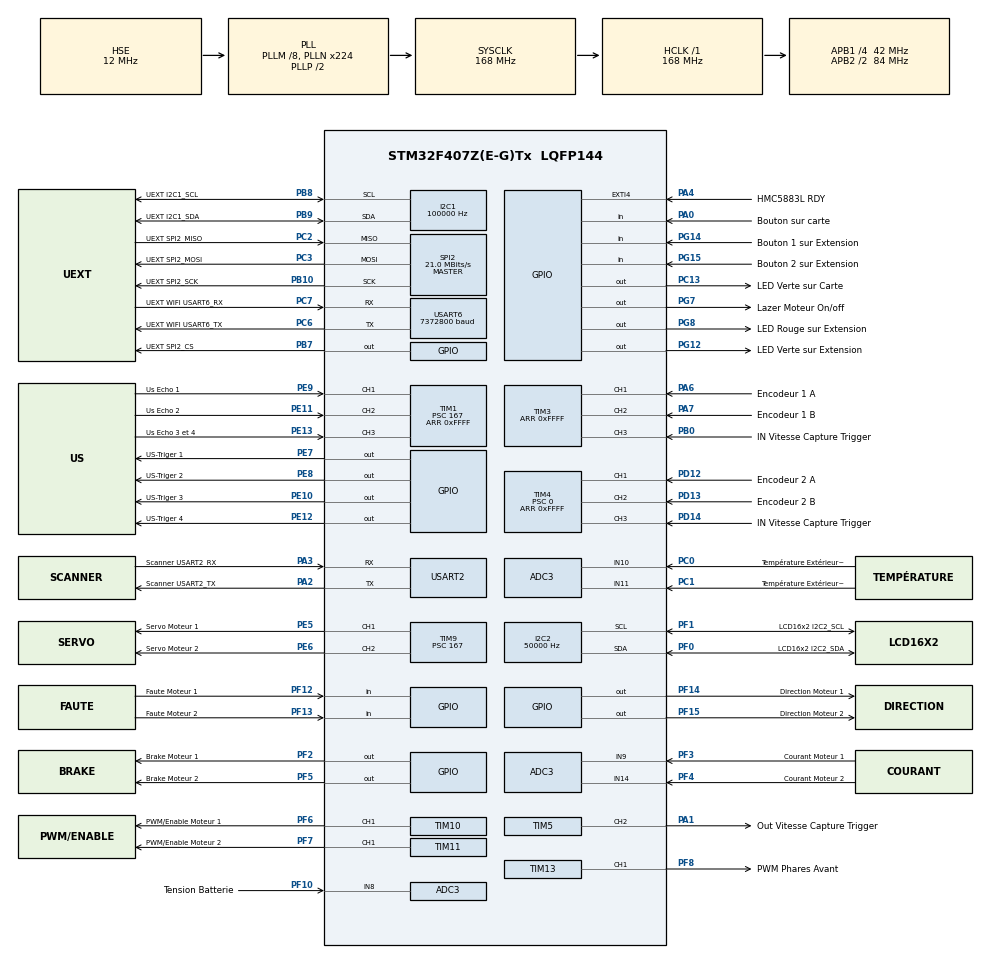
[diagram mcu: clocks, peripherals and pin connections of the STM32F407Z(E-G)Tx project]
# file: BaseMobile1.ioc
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ADC3.Channel-0\#ChannelRegularConversion=ADC_CHANNEL_8
ADC3.Channel-1\#ChannelRegularConversion=ADC_CHANNEL_9
ADC3.Channel-2\#ChannelRegularConversion=ADC_CHANNEL_10
ADC3.Channel-3\#ChannelRegularConversion=ADC_CHANNEL_11
ADC3.Channel-4\#ChannelRegularConversion=ADC_CHANNEL_14
ADC3.DMAContinuousRequests=ENABLE
ADC3.ExternalTrigConv=ADC_EXTERNALTRIGCONV_T5_CC2
ADC3.ExternalTrigConvEdge=ADC_EXTERNALTRIGCONVEDGE_RISING
ADC3.NbrOfConversion=5
ADC3.NbrOfConversionFlag=1
ADC3.Rank-1\#ChannelRegularConversion=2
ADC3.Rank-2\#ChannelRegularConversion=3
ADC3.Rank-3\#ChannelRegularConversion=4
ADC3.Rank-4\#ChannelRegularConversion=5
ADC3.SamplingTime-0\#ChannelRegularConversion=ADC_SAMPLETIME_112CYCLES
ADC3.SamplingTime-1\#ChannelRegularConversion=ADC_SAMPLETIME_112CYCLES
ADC3.SamplingTime-2\#ChannelRegularConversion=ADC_SAMPLETIME_112CYCLES
ADC3.SamplingTime-3\#ChannelRegularConversion=ADC_SAMPLETIME_112CYCLES
ADC3.SamplingTime-4\#ChannelRegularConversion=ADC_SAMPLETIME_112CYCLES
ADC3.ScanConvMode=ENABLE
Dma.ADC3.2.Channel=DMA_CHANNEL_2
Dma.ADC3.2.Direction=DMA_PERIPH_TO_MEMORY
Dma.ADC3.2.FIFOMode=DMA_FIFOMODE_DISABLE
Dma.ADC3.2.FIFOThreshold=DMA_FIFO_THRESHOLD_FULL
Dma.ADC3.2.Instance=DMA2_Stream0
Dma.ADC3.2.MemBurst=DMA_MBURST_SINGLE
Dma.ADC3.2.MemDataAlignment=DMA_MDATAALIGN_WORD
Dma.ADC3.2.MemInc=DMA_MINC_ENABLE
Dma.ADC3.2.Mode=DMA_CIRCULAR
Dma.ADC3.2.PeriphBurst=DMA_PBURST_SINGLE
Dma.ADC3.2.PeriphDataAlignment=DMA_PDATAALIGN_WORD
Dma.ADC3.2.PeriphInc=DMA_PINC_DISABLE
Dma.ADC3.2.Priority=DMA_PRIORITY_LOW
Dma.Request0=USART6_RX
Dma.Request1=USART6_TX
Dma.Request2=ADC3
Dma.Request3=USART2_RX
Dma.USART2_RX.3.Channel=DMA_CHANNEL_4
Dma.USART2_RX.3.Direction=DMA_PERIPH_TO_MEMORY
Dma.USART2_RX.3.FIFOMode=DMA_FIFOMODE_DISABLE
Dma.USART2_RX.3.FIFOThreshold=DMA_FIFO_THRESHOLD_FULL
Dma.USART2_RX.3.Instance=DMA1_Stream5
Dma.USART2_RX.3.MemBurst=DMA_MBURST_SINGLE
Dma.USART2_RX.3.MemDataAlignment=DMA_MDATAALIGN_BYTE
Dma.USART2_RX.3.MemInc=DMA_MINC_ENABLE
Dma.USART2_RX.3.Mode=DMA_CIRCULAR
Dma.USART2_RX.3.PeriphBurst=DMA_PBURST_SINGLE
Dma.USART2_RX.3.PeriphDataAlignment=DMA_PDATAALIGN_BYTE
Dma.USART2_RX.3.PeriphInc=DMA_PINC_DISABLE
Dma.USART2_RX.3.Priority=DMA_PRIORITY_HIGH
Dma.USART6_RX.0.Channel=DMA_CHANNEL_5
Dma.USART6_RX.0.Direction=DMA_PERIPH_TO_MEMORY
Dma.USART6_RX.0.FIFOMode=DMA_FIFOMODE_DISABLE
Dma.USART6_RX.0.FIFOThreshold=DMA_FIFO_THRESHOLD_FULL
Dma.USART6_RX.0.Instance=DMA2_Stream1
Dma.USART6_RX.0.MemBurst=DMA_MBURST_SINGLE
Dma.USART6_RX.0.MemDataAlignment=DMA_MDATAALIGN_BYTE
Dma.USART6_RX.0.MemInc=DMA_MINC_ENABLE
Dma.USART6_RX.0.Mode=DMA_NORMAL
Dma.USART6_RX.0.PeriphBurst=DMA_PBURST_SINGLE
Dma.USART6_RX.0.PeriphDataAlignment=DMA_PDATAALIGN_BYTE
Dma.USART6_RX.0.PeriphInc=DMA_PINC_DISABLE
Dma.USART6_RX.0.Priority=DMA_PRIORITY_VERY_HIGH
Dma.USART6_TX.1.Channel=DMA_CHANNEL_5
Dma.USART6_TX.1.Direction=DMA_MEMORY_TO_PERIPH
Dma.USART6_TX.1.FIFOMode=DMA_FIFOMODE_DISABLE
Dma.USART6_TX.1.FIFOThreshold=DMA_FIFO_THRESHOLD_FULL
Dma.USART6_TX.1.Instance=DMA2_Stream6
Dma.USART6_TX.1.MemBurst=DMA_MBURST_SINGLE
Dma.USART6_TX.1.MemDataAlignment=DMA_MDATAALIGN_BYTE
Dma.USART6_TX.1.MemInc=DMA_MINC_ENABLE
Dma.USART6_TX.1.Mode=DMA_NORMAL
Dma.USART6_TX.1.PeriphBurst=DMA_PBURST_SINGLE
Dma.USART6_TX.1.PeriphDataAlignment=DMA_PDATAALIGN_BYTE
Dma.USART6_TX.1.PeriphInc=DMA_PINC_DISABLE
Dma.USART6_TX.1.Priority=DMA_PRIORITY_HIGH
I2C1.ClockSpeed=100000
I2C1.I2C_Mode=I2C_Standard
I2C2.ClockSpeed=50000
Mcu.Family=STM32F4
Mcu.Name=STM32F407Z(E-G)Tx
Mcu.Package=LQFP144
NVIC.DMA1_Stream5_IRQn=true\:0\:15\:false
NVIC.DMA2_Stream0_IRQn=true\:0\:12\:false
NVIC.DMA2_Stream1_IRQn=true\:0\:10\:false
NVIC.DMA2_Stream6_IRQn=true\:0\:10\:false
NVIC.EXTI4_IRQn=true\:0\:15\:false
NVIC.I2C1_ER_IRQn=true\:0\:14\:false
NVIC.I2C1_EV_IRQn=true\:0\:14\:false
NVIC.I2C2_ER_IRQn=true\:0\:14\:false
NVIC.I2C2_EV_IRQn=true\:0\:14\:false
NVIC.PriorityGroup=NVIC_PRIORITYGROUP_0
NVIC.TIM1_CC_IRQn=true\:0\:9\:false
NVIC.TIM2_IRQn=true\:0\:5\:false
NVIC.TIM5_IRQn=true\:0\:13\:false
NVIC.USART2_IRQn=true\:0\:11\:false
NVIC.USART6_IRQn=true\:0\:11\:false
PA0-WKUP.GPIO_Label=Bouton sur carte
PA0-WKUP.GPIO_Mode=GPIO_MODE_INPUT
PA0-WKUP.GPIO_PuPd=GPIO_NOPULL
PA0-WKUP.Signal=GPIO_Input
PA1.GPIO_Label=Out Vitesse Capture Trigger
PA1.GPIO_ModeDefaultPP=GPIO_MODE_AF_PP
PA1.GPIO_PuPd=GPIO_NOPULL
PA1.GPIO_Speed=GPIO_SPEED_LOW
PA1.Signal=S_TIM5_CH2
PA10.Signal=USB_OTG_FS_ID
PA11.Signal=USB_OTG_FS_DM
PA12.Signal=USB_OTG_FS_DP
PA13.Mode=JTAG(5-pin)
PA13.Signal=SYS_JTMS-SWDIO
PA14.Mode=JTAG(5-pin)
PA14.Signal=SYS_JTCK-SWCLK
PA15.Mode=JTAG(5-pin)
PA15.Signal=SYS_JTDI
PA2.GPIO_Label=Scanner USART2_TX
PA2.GPIO_Mode=GPIO_MODE_AF_PP
PA2.GPIO_PuPd=GPIO_PULLUP
PA2.GPIO_Speed=GPIO_SPEED_HIGH
PA2.Mode=Asynchronous
PA2.Signal=USART2_TX
PA3.GPIO_Label=Scanner USART2_RX
PA3.GPIO_Mode=GPIO_MODE_AF_PP
PA3.GPIO_PuPd=GPIO_PULLUP
PA3.GPIO_Speed=GPIO_SPEED_HIGH
PA3.Mode=Asynchronous
PA3.Signal=USART2_RX
PA4.GPIO_Label=HMC5883L RDY
PA4.GPIO_ModeDefaultEXTI=GPIO_MODE_IT_RISING
PA4.GPIO_PuPd=GPIO_NOPULL
PA4.Signal=GPXTI4
PA6.GPIO_Label=Encodeur 1 A
PA6.GPIO_ModeDefaultPP=GPIO_MODE_AF_PP
PA6.GPIO_PuPd=GPIO_NOPULL
PA6.GPIO_Speed=GPIO_SPEED_LOW
PA6.Signal=S_TIM3_CH1
PA7.GPIO_Label=Encodeur 1 B
PA7.GPIO_ModeDefaultPP=GPIO_MODE_AF_PP
PA7.GPIO_PuPd=GPIO_NOPULL
PA7.GPIO_Speed=GPIO_SPEED_LOW
PA7.Signal=S_TIM3_CH2
PA8.Signal=USB_OTG_FS_SOF
PA9.Signal=USB_OTG_FS_VBUS
PB0.GPIO_Label=IN Vitesse Capture Trigger
PB0.GPIO_ModeDefaultPP=GPIO_MODE_AF_PP
PB0.GPIO_PuPd=GPIO_NOPULL
PB0.GPIO_Speed=GPIO_SPEED_LOW
PB0.Signal=S_TIM3_CH3
PB1.Signal=USB_OTG_HS_ULPI_D2
PB10.GPIO_Label=UEXT SPI2_SCK
PB10.GPIO_Mode=GPIO_MODE_AF_PP
PB10.GPIO_PuPd=GPIO_PULLDOWN
PB10.GPIO_Speed=GPIO_SPEED_HIGH
PB10.Mode=Full_Duplex_Master
PB10.Signal=SPI2_SCK
PB13.Signal=USB_OTG_HS_VBUS
PB14.Signal=USB_OTG_HS_DM
PB15.Signal=USB_OTG_HS_DP
PB3.Mode=JTAG(5-pin)
PB3.Signal=SYS_JTDO-SWO
PB4.Mode=JTAG(5-pin)
PB4.Signal=SYS_JTRST
PB5.GPIO_Label=Arduino SPI1_MOSI
PB5.GPIO_Mode=GPIO_MODE_AF_PP
PB5.GPIO_PuPd=GPIO_NOPULL
PB5.GPIO_Speed=GPIO_SPEED_HIGH
PB5.Signal=SPI1_MOSI
PB7.GPIO_Label=UEXT SPI2_CS
PB7.GPIO_ModeDefaultOutputPP=GPIO_MODE_OUTPUT_PP
PB7.GPIO_PuPd=GPIO_PULLUP
PB7.GPIO_Speed=GPIO_SPEED_HIGH
PB7.Signal=GPIO_Output
PB8.GPIO_Label=UEXT I2C1_SCL
PB8.GPIO_Mode=GPIO_MODE_AF_OD
PB8.GPIO_PuPdOD=GPIO_PULLUP
PB8.GPIO_Speed=GPIO_SPEED_HIGH
PB8.Mode=I2C
PB8.Signal=I2C1_SCL
PB9.GPIO_Label=UEXT I2C1_SDA
PB9.GPIO_Mode=GPIO_MODE_AF_OD
PB9.GPIO_PuPdOD=GPIO_PULLUP
PB9.GPIO_Speed=GPIO_SPEED_HIGH
PB9.Mode=I2C
PB9.Signal=I2C1_SDA
PC0.GPIO_Label=Temp\u00E9rature Ext\u00E9rieure Low 
PC0.GPIO_Mode=GPIO_MODE_ANALOG
PC0.GPIO_PuPd=GPIO_NOPULL
PC0.Signal=ADCx_IN10
PC1.GPIO_Label=Temp\u00E9rature Ext\u00E9rieure Hiigh 
PC1.GPIO_Mode=GPIO_MODE_ANALOG
PC1.GPIO_PuPd=GPIO_NOPULL
PC1.Signal=ADCx_IN11
PC10.Signal=SDIO_D2
PC11.Signal=SDIO_D3
PC12.Signal=SDIO_CK
PC13-ANTI_TAMP.GPIO_Label=LED Verte sur Carte
PC13-ANTI_TAMP.GPIO_ModeDefaultOutputPP=GPIO_MODE_OUTPUT_PP
PC13-ANTI_TAMP.GPIO_PuPd=GPIO_NOPULL
PC13-ANTI_TAMP.GPIO_Speed=GPIO_SPEED_LOW
PC13-ANTI_TAMP.Signal=GPIO_Output
PC14-OSC32_IN.Mode=LSE-External-Oscillator
PC14-OSC32_IN.Signal=RCC_OSC32_IN
PC15-OSC32_OUT.Mode=LSE-External-Oscillator
PC15-OSC32_OUT.Signal=RCC_OSC32_OUT
PC2.GPIO_Label=UEXT SPI2_MISO
PC2.GPIO_Mode=GPIO_MODE_AF_PP
PC2.GPIO_PuPd=GPIO_NOPULL
PC2.GPIO_Speed=GPIO_SPEED_HIGH
PC2.Mode=Full_Duplex_Master
PC2.Signal=SPI2_MISO
PC3.GPIO_Label=UEXT SPI2_MOSI
PC3.GPIO_Mode=GPIO_MODE_AF_PP
PC3.GPIO_PuPd=GPIO_NOPULL
PC3.GPIO_Speed=GPIO_SPEED_HIGH
PC3.Mode=Full_Duplex_Master
PC3.Signal=SPI2_MOSI
PC6.GPIO_Label=UEXT WIFI USART6_TX 
PC6.GPIO_Mode=GPIO_MODE_AF_PP
PC6.GPIO_PuPd=GPIO_NOPULL
PC6.GPIO_Speed=GPIO_SPEED_HIGH
PC6.Mode=Asynchronous
PC6.Signal=USART6_TX
PC7.GPIO_Label=UEXT WIFI USART6_RX
PC7.GPIO_Mode=GPIO_MODE_AF_PP
PC7.GPIO_PuPd=GPIO_NOPULL
PC7.GPIO_Speed=GPIO_SPEED_HIGH
PC7.Mode=Asynchronous
PC7.Signal=USART6_RX
PC8.Signal=SDIO_D0
PC9.Signal=SDIO_D1
PD12.GPIO_Label=Encodeur 2 A
PD12.GPIO_ModeDefaultPP=GPIO_MODE_AF_PP
PD12.GPIO_PuPd=GPIO_NOPULL
PD12.GPIO_Speed=GPIO_SPEED_LOW
PD12.Signal=S_TIM4_CH1
PD13.GPIO_Label=Encodeur 2 B
PD13.GPIO_ModeDefaultPP=GPIO_MODE_AF_PP
PD13.GPIO_PuPd=GPIO_NOPULL
PD13.GPIO_Speed=GPIO_SPEED_LOW
PD13.Signal=S_TIM4_CH2
PD14.GPIO_Label=IN Vitesse Capture Trigger
PD14.GPIO_ModeDefaultPP=GPIO_MODE_AF_PP
PD14.GPIO_PuPd=GPIO_NOPULL
PD14.GPIO_Speed=GPIO_SPEED_LOW
PD14.Signal=S_TIM4_CH3
PD2.Signal=SDIO_CMD
PD8.GPIO_Label=BOOT USART3_TX
PD8.GPIO_Mode=GPIO_MODE_AF_PP
PD8.GPIO_PuPd=GPIO_PULLUP
PD8.GPIO_Speed=GPIO_SPEED_HIGH
PD8.Signal=USART3_TX
PD9.GPIO_Label=BOOT USART3_RX
PD9.GPIO_Mode=GPIO_MODE_AF_PP
PD9.GPIO_PuPd=GPIO_PULLUP
PD9.GPIO_Speed=GPIO_SPEED_HIGH
PD9.Signal=USART3_RX
PE10.GPIO_Label=US-Triger 3
PE10.GPIO_ModeDefaultOutputPP=GPIO_MODE_OUTPUT_PP
PE10.GPIO_PuPd=GPIO_NOPULL
PE10.GPIO_Speed=GPIO_SPEED_LOW
PE10.Signal=GPIO_Output
PE11.GPIO_Label=Us Echo 2
PE11.GPIO_ModeDefaultPP=GPIO_MODE_AF_PP
PE11.GPIO_PuPd=GPIO_NOPULL
PE11.GPIO_Speed=GPIO_SPEED_LOW
PE11.Signal=S_TIM1_CH2
PE12.GPIO_Label=US-Triger 4
PE12.GPIO_ModeDefaultOutputPP=GPIO_MODE_OUTPUT_PP
PE12.GPIO_PuPd=GPIO_NOPULL
PE12.GPIO_Speed=GPIO_SPEED_LOW
PE12.Signal=GPIO_Output
PE13.GPIO_Label=Us Echo 3 et 4
PE13.GPIO_ModeDefaultPP=GPIO_MODE_AF_PP
PE13.GPIO_PuPd=GPIO_PULLDOWN
PE13.GPIO_Speed=GPIO_SPEED_LOW
PE13.Signal=S_TIM1_CH3
PE5.GPIO_Label=Servo Moteur 1
PE5.GPIO_ModeDefaultPP=GPIO_MODE_AF_PP
PE5.GPIO_PuPd=GPIO_NOPULL
PE5.GPIO_Speed=GPIO_SPEED_LOW
PE5.Signal=S_TIM9_CH1
PE6.GPIO_Label=Servo Moteur 2
PE6.GPIO_ModeDefaultPP=GPIO_MODE_AF_PP
PE6.GPIO_PuPd=GPIO_NOPULL
PE6.GPIO_Speed=GPIO_SPEED_LOW
PE6.Signal=S_TIM9_CH2
PE7.GPIO_Label=US-Triger 1
PE7.GPIO_ModeDefaultOutputPP=GPIO_MODE_OUTPUT_PP
PE7.GPIO_PuPd=GPIO_NOPULL
PE7.GPIO_Speed=GPIO_SPEED_LOW
PE7.Signal=GPIO_Output
PE8.GPIO_Label=US-Triger 2
PE8.GPIO_ModeDefaultOutputPP=GPIO_MODE_OUTPUT_PP
PE8.GPIO_PuPd=GPIO_NOPULL
PE8.GPIO_Speed=GPIO_SPEED_LOW
PE8.Signal=GPIO_Output
PE9.GPIO_Label=Us Echo 1
PE9.GPIO_ModeDefaultPP=GPIO_MODE_AF_PP
PE9.GPIO_PuPd=GPIO_NOPULL
PE9.GPIO_Speed=GPIO_SPEED_LOW
PE9.Signal=S_TIM1_CH1
PF0.GPIO_Label=LCD16x2 I2C2_SDA
PF0.GPIO_Mode=GPIO_MODE_AF_OD
PF0.GPIO_PuPdOD=GPIO_PULLUP
PF0.GPIO_Speed=GPIO_SPEED_HIGH
PF0.Mode=I2C
PF0.Signal=I2C2_SDA
PF1.GPIO_Label=LCD16x2 I2C2_SCL
PF1.GPIO_Mode=GPIO_MODE_AF_OD
PF1.GPIO_PuPdOD=GPIO_PULLUP
PF1.GPIO_Speed=GPIO_SPEED_HIGH
PF1.Mode=I2C
PF1.Signal=I2C2_SCL
PF10.GPIO_Label=Tension Batterie
PF10.GPIO_Mode=GPIO_MODE_ANALOG
PF10.GPIO_PuPd=GPIO_NOPULL
PF10.Mode=IN8
PF10.Signal=ADC3_IN8
PF12.GPIO_Label=Faute Moteur 1
PF12.GPIO_Mode=GPIO_MODE_INPUT
PF12.GPIO_PuPd=GPIO_NOPULL
PF12.Signal=GPIO_Input
PF13.GPIO_Label=Faute Moteur 2
PF13.GPIO_Mode=GPIO_MODE_INPUT
PF13.GPIO_PuPd=GPIO_NOPULL
PF13.Signal=GPIO_Input
PF14.GPIO_Label=Direction Moteur 1
PF14.GPIO_ModeDefaultOutputPP=GPIO_MODE_OUTPUT_PP
PF14.GPIO_PuPd=GPIO_NOPULL
PF14.GPIO_Speed=GPIO_SPEED_LOW
PF14.Signal=GPIO_Output
PF15.GPIO_Label=Direction Moteur 2
PF15.GPIO_ModeDefaultOutputPP=GPIO_MODE_OUTPUT_PP
PF15.GPIO_PuPd=GPIO_NOPULL
PF15.GPIO_Speed=GPIO_SPEED_LOW
PF15.Signal=GPIO_Output
PF2.GPIO_Label=Brake Moteur 1
PF2.GPIO_ModeDefaultOutputPP=GPIO_MODE_OUTPUT_OD
PF2.GPIO_PuPd=GPIO_NOPULL
PF2.GPIO_Speed=GPIO_SPEED_LOW
PF2.Signal=GPIO_Output
PF3.GPIO_Label=Courant Moteur 1
PF3.GPIO_Mode=GPIO_MODE_ANALOG
PF3.GPIO_PuPd=GPIO_NOPULL
PF3.Mode=IN9
PF3.Signal=ADC3_IN9
PF4.GPIO_Label=Courant Moteur 2
PF4.GPIO_Mode=GPIO_MODE_ANALOG
PF4.GPIO_PuPd=GPIO_NOPULL
PF4.Mode=IN14
PF4.Signal=ADC3_IN14
PF5.GPIO_Label=Brake Moteur 2
PF5.GPIO_ModeDefaultOutputPP=GPIO_MODE_OUTPUT_OD
PF5.GPIO_PuPd=GPIO_NOPULL
PF5.GPIO_Speed=GPIO_SPEED_LOW
PF5.Signal=GPIO_Output
PF6.GPIO_Label=PWM/Enable Moteur 1
PF6.GPIO_ModeDefaultPP=GPIO_MODE_AF_PP
PF6.GPIO_PuPd=GPIO_NOPULL
PF6.GPIO_Speed=GPIO_SPEED_LOW
PF6.Signal=S_TIM10_CH1
PF7.GPIO_Label=PWM/Enable Moteur 2
PF7.GPIO_ModeDefaultPP=GPIO_MODE_AF_PP
PF7.GPIO_PuPd=GPIO_NOPULL
PF7.GPIO_Speed=GPIO_SPEED_LOW
PF7.Signal=S_TIM11_CH1
PF8.GPIO_Label=PWM Phares Avant
PF8.GPIO_ModeDefaultPP=GPIO_MODE_AF_PP
PF8.GPIO_PuPd=GPIO_NOPULL
PF8.GPIO_Speed=GPIO_SPEED_LOW
PF8.Signal=S_TIM13_CH1
PG12.GPIO_Label=LED Verte sur Extension
PG12.GPIO_ModeDefaultOutputPP=GPIO_MODE_OUTPUT_PP
PG12.GPIO_PuPd=GPIO_NOPULL
PG12.GPIO_Speed=GPIO_SPEED_LOW
PG12.Signal=GPIO_Output
PG14.GPIO_Label=Bouton 1 sur Extension
PG14.GPIO_Mode=GPIO_MODE_INPUT
PG14.GPIO_PuPd=GPIO_NOPULL
PG14.Signal=GPIO_Input
PG15.GPIO_Label=Bouton 2 sur Extension
PG15.GPIO_Mode=GPIO_MODE_INPUT
PG15.GPIO_PuPd=GPIO_NOPULL
PG15.Signal=GPIO_Input
PG7.GPIO_Label=Lazer Moteur On/off
PG7.GPIO_ModeDefaultOutputPP=GPIO_MODE_OUTPUT_PP
PG7.GPIO_PuPd=GPIO_NOPULL
PG7.GPIO_Speed=GPIO_SPEED_LOW
PG7.Signal=GPIO_Output
PG8.GPIO_Label=LED Rouge sur Extension
PG8.GPIO_ModeDefaultOutputPP=GPIO_MODE_OUTPUT_PP
PG8.GPIO_PuPd=GPIO_NOPULL
PG8.GPIO_Speed=GPIO_SPEED_LOW
PG8.Signal=GPIO_Output
PH0-OSC_IN.Mode=HSE-External-Oscillator
PH0-OSC_IN.Signal=RCC_OSC_IN
PH1-OSC_OUT.Mode=HSE-External-Oscillator
PH1-OSC_OUT.Signal=RCC_OSC_OUT
ProjectManager.TargetToolchain=SW4STM32
RCC.48MHZClocksFreq_Value=84000000
RCC.AHBFreq_Value=168000000
RCC.APB1CLKDivider=RCC_HCLK_DIV4
RCC.APB1Freq_Value=42000000
RCC.APB1TimFreq_Value=84000000
RCC.APB2CLKDivider=RCC_HCLK_DIV2
RCC.APB2Freq_Value=84000000
RCC.APB2TimFreq_Value=168000000
RCC.CortexFreq_Value=168000000
RCC.HCLKFreq_Value=168000000
RCC.HSE_VALUE=12000000
RCC.HSI_VALUE=16000000
RCC.PLLM=8
RCC.PLLN=224
RCC.PLLSourceVirtual=RCC_PLLSOURCE_HSE
RCC.RCC_RTC_Clock_Source=RCC_RTCCLKSOURCE_LSE
RCC.RCC_RTC_Clock_SourceVirtual=RCC_RTCCLKSOURCE_LSE
RCC.SYSCLKFreq_VALUE=168000000
RCC.SYSCLKSource=RCC_SYSCLKSOURCE_PLLCLK
RCC.VCOOutputFreq_Value=336000000
SH.ADCx_IN10.0=ADC3_IN10,IN10
SH.ADCx_IN11.0=ADC3_IN11,IN11
SH.S_TIM10_CH1.0=TIM10_CH1,PWM Generation1 CH1
SH.S_TIM11_CH1.0=TIM11_CH1,PWM Generation1 CH1
SH.S_TIM13_CH1.0=TIM13_CH1,PWM Generation1 CH1
SH.S_TIM1_CH1.0=TIM1_CH1,Input_Capture1_from_TI1
SH.S_TIM1_CH1.1=TIM1_CH1,TriggerSource_TI1ED
SH.S_TIM1_CH2.0=TIM1_CH2,Input_Capture2_from_TI2
SH.S_TIM1_CH3.0=TIM1_CH3,Input_Capture3_from_TI3
SH.S_TIM3_CH1.0=TIM3_CH1,Encoder_Interface
SH.S_TIM3_CH2.0=TIM3_CH2,Encoder_Interface
SH.S_TIM3_CH3.0=TIM3_CH3,Input_Capture3_from_TI3
SH.S_TIM4_CH1.0=TIM4_CH1,Encoder_Interface
SH.S_TIM4_CH2.0=TIM4_CH2,Encoder_Interface
SH.S_TIM4_CH3.0=TIM4_CH3,Input_Capture3_from_TI3
SH.S_TIM5_CH2.0=TIM5_CH2,Output Compare2 CH2
SH.S_TIM9_CH1.0=TIM9_CH1,PWM Generation1 CH1
SH.S_TIM9_CH2.0=TIM9_CH2,PWM Generation2 CH2
SPI2.BaudRatePrescaler=SPI_BAUDRATEPRESCALER_2
SPI2.CLKPhase=SPI_PHASE_2EDGE
SPI2.CLKPolarity=SPI_POLARITY_HIGH
SPI2.CRCCalculation=SPI_CRCCALCULATION_ENABLED
SPI2.CalculateBaudRate=21.0 MBits/s
SPI2.Mode=SPI_MODE_MASTER
TIM1.Channel-Input_Capture2_from_TI2=TIM_CHANNEL_2
TIM1.Channel-Input_Capture3_from_TI3=TIM_CHANNEL_3
TIM1.ICPolarity_CH1=TIM_INPUTCHANNELPOLARITY_FALLING
TIM1.ICPolarity_CH2=TIM_INPUTCHANNELPOLARITY_FALLING
TIM1.ICPolarity_CH3=TIM_INPUTCHANNELPOLARITY_FALLING
TIM1.Period=0xFFFF
TIM1.Prescaler=167
TIM10.Period=999
TIM10.Prescaler=7
TIM11.Period=999
TIM11.Prescaler=7
TIM13.Period=999
TIM13.Prescaler=840
TIM2.Channel-Output\ Compare2\ No\ Output=TIM_CHANNEL_2
TIM2.Channel-Output\ Compare3\ No\ Output=TIM_CHANNEL_3
TIM2.Channel-Output\ Compare4\ No\ Output=TIM_CHANNEL_4
TIM2.Period=0xFFFFFFFF
TIM2.Prescaler=83
TIM3.Channel-Input_Capture3_from_TI3=TIM_CHANNEL_3
TIM3.EncoderMode=TIM_ENCODERMODE_TI12
TIM3.IC1Filter=8
TIM3.IC2Filter=8
TIM3.Period=0xFFFF
TIM4.Channel-Input_Capture3_from_TI3=TIM_CHANNEL_3
TIM4.EncoderMode=TIM_ENCODERMODE_TI12
TIM4.IC1Filter=8
TIM4.IC2Filter=8
TIM4.Period=0xFFFF
TIM4.Prescaler=0
TIM4.TIM_MasterOutputTrigger=TIM_TRGO_UPDATE
TIM4.TIM_MasterSlaveMode=TIM_MASTERSLAVEMODE_ENABLE
TIM5.Channel-Output\ Compare2\ CH2=TIM_CHANNEL_2
TIM5.Channel-Output\ Compare3\ No\ Output=TIM_CHANNEL_3
TIM5.Channel-Output\ Compare4\ No\ Output=TIM_CHANNEL_4
TIM5.OCMode_2=TIM_OCMODE_ACTIVE
TIM5.Period=0xFFFFFFFF
TIM5.Prescaler=83
TIM5.Pulse-Output\ Compare2\ CH2=0xFFFFFFFF
TIM9.Channel-PWM\ Generation2\ CH2=TIM_CHANNEL_2
TIM9.Period=19999
TIM9.Prescaler=167
TIM9.Pulse-PWM\ Generation1\ CH1=1500
TIM9.Pulse-PWM\ Generation2\ CH2=1500
USART6.BaudRate=7372800
USART6.OverSampling=UART_OVERSAMPLING_8
VP_TIM10_VS_ClockSourceINT.Mode=Enable_Timer
VP_TIM11_VS_ClockSourceINT.Mode=Enable_Timer
VP_TIM13_VS_ClockSourceINT.Mode=Enable_Timer
VP_TIM1_VS_ClockSourceINT.Mode=Internal
VP_TIM1_VS_ControllerModeReset.Mode=Reset Mode
VP_TIM1_VS_XOR.Mode=XOR_enable
VP_TIM2_VS_ClockSourceINT.Mode=Internal
VP_TIM2_VS_no_output1.Mode=Output Compare1 No Output
VP_TIM2_VS_no_output2.Mode=Output Compare2 No Output
VP_TIM2_VS_no_output3.Mode=Output Compare3 No Output
VP_TIM2_VS_no_output4.Mode=Output Compare4 No Output
VP_TIM5_VS_ClockSourceINT.Mode=Internal
VP_TIM5_VS_no_output1.Mode=Output Compare1 No Output
VP_TIM5_VS_no_output3.Mode=Output Compare3 No Output
VP_TIM5_VS_no_output4.Mode=Output Compare4 No Output
VP_TIM9_VS_ClockSourceINT.Mode=Internal

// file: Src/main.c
/**
  ******************************************************************************
  * File Name          : main.c
  * Description        : Main program body
  ******************************************************************************
  *
  * COPYRIGHT(c) 2016 STMicroelectronics
  *
  * Redistribution and use in source and binary forms, with or without modification,
  * are permitted provided that the following conditions are met:
  *   1. Redistributions of source code must retain the above copyright notice,
  *      this list of conditions and the following disclaimer.
  *   2. Redistributions in binary form must reproduce the above copyright notice,
  *      this list of conditions and the following disclaimer in the documentation
  *      and/or other materials provided with the distribution.
  *   3. Neither the name of STMicroelectronics nor the names of its contributors
  *      may be used to endorse or promote products derived from this software
  *      without specific prior written permission.
  *
  * THIS SOFTWARE IS PROVIDED BY THE COPYRIGHT HOLDERS AND CONTRIBUTORS "AS IS"
  * AND ANY EXPRESS OR IMPLIED WARRANTIES, INCLUDING, BUT NOT LIMITED TO, THE
  * IMPLIED WARRANTIES OF MERCHANTABILITY AND FITNESS FOR A PARTICULAR PURPOSE ARE
  * DISCLAIMED. IN NO EVENT SHALL THE COPYRIGHT HOLDER OR CONTRIBUTORS BE LIABLE
  * FOR ANY DIRECT, INDIRECT, INCIDENTAL, SPECIAL, EXEMPLARY, OR CONSEQUENTIAL
  * DAMAGES (INCLUDING, BUT NOT LIMITED TO, PROCUREMENT OF SUBSTITUTE GOODS OR
  * SERVICES; LOSS OF USE, DATA, OR PROFITS; OR BUSINESS INTERRUPTION) HOWEVER
  * CAUSED AND ON ANY THEORY OF LIABILITY, WHETHER IN CONTRACT, STRICT LIABILITY,
  * OR TORT (INCLUDING NEGLIGENCE OR OTHERWISE) ARISING IN ANY WAY OUT OF THE USE
  * OF THIS SOFTWARE, EVEN IF ADVISED OF THE POSSIBILITY OF SUCH DAMAGE.
  *
  ******************************************************************************
  */
#include "stm32f4xx_hal.h"
#include "adc.h"
#include "dma.h"
#include "i2c.h"
#include "spi.h"
#include "tim.h"
#include "usart.h"
#include "gpio.h"

/* USER CODE BEGIN Includes */
#include "typegen.h"
#include "stdio.h"
#include "moteurs.h"
#include "US_Capteur.h"
#include "Tempo.h"
#include "LCD16x2.h"
#include "Boutons.h"
#include "Temperature.h"
#include "Wificom.h"
#include "HMC5883L.h"
#include "Phares.h"
#include "Sauve_Restaure.h"
#include "Rplidar.h"
#include "MPU6050.h"
#include "HMC5883L.h"
#include "Guidage.h"

/* USER CODE END Includes */

/* USER CODE BEGIN PV */
/* Private variables ---------------------------------------------------------*/

/* Le buffer de lecture des entrées analogiques de ADC3 */
extern uint32_t	Buf_Adc[ 5 ] ;				/* 5 canaux à convertir */

T_Boolean	Defaut_Sauvegarde ;

int16_t 	Distance_Obstacle_Avant ;
int16_t 	Distance_Obstacle_Arriere ;
int16_t   Position_Servo = 45 ;

/* USER CODE END PV */

void SystemClock_Config(void);

/* USER CODE BEGIN PFP */
/* Private function prototypes -----------------------------------------------*/

/* USER CODE END PFP */

int main(void)
{

  /* MCU Configuration----------------------------------------------------------*/

  /* Reset of all peripherals, Initializes the Flash interface and the Systick. */
  HAL_Init();

  /* Configure the system clock */
  SystemClock_Config();

  /* Initialize all configured peripherals */
  MX_GPIO_Init();
  MX_DMA_Init();
  MX_ADC3_Init();
  MX_I2C1_Init();
  MX_I2C2_Init();
  MX_SPI2_Init();
  MX_TIM1_Init();
  MX_TIM2_Init();
  MX_TIM3_Init();
  MX_TIM4_Init();
  MX_TIM5_Init();
  MX_TIM9_Init();
  MX_TIM10_Init();
  MX_TIM11_Init();
  MX_TIM13_Init();
  MX_USART2_UART_Init();
  MX_USART6_UART_Init();

  /* USER CODE BEGIN 2 */

	/* Restauration des paramètres */
	Initialise_Sauvegarde ();

#ifdef RPLIDAR
	Rplidar_Start() ;
#endif

#ifdef SERVO
	Servos_Start_PWM ();
#endif
	Phares_Start () ;
	Moteurs_Start () ;

#ifdef WIFI
  WifiCom_Communication_Start ()  ;
#endif

	/* démarre CAN mesure température , courant moteur 1 et 2  et tension batterie (triggé par out compare timer 5 soit
		 en même temps que l'asservissement vitesse					*/
	HAL_ADC_Start_DMA (&hadc3, Buf_Adc, 5 );

#ifdef	GYRO
	if ( MPU6050_Initialize () == OUI )
	{
		HAL_Delay ( 1000 ) ;
		MPU6050_Calibration_Start () ;
		MPU6050_Asservissement_Start ();
	}
#endif

#ifdef COMPAS
	HMC5883L_Start () ;
#endif

#ifdef US_CAPTEUR
// Us_SelectInterrogation ( US_GAUCHE, 	MARCHE );
	Us_SelectInterrogation ( US_ARRIERE, 	MARCHE );
	Us_SelectInterrogation ( US_AVANT, 		MARCHE );
//	Us_SelectInterrogation ( US_DROIT, 		MARCHE );
	Us_MarcheArretGeneral  ( MARCHE ) ;
#endif

  /* USER CODE END 2 */

  /* Infinite loop */
  while (1)
  {

  /* USER CODE BEGIN 3 */
		if ((TestCollisionAvant() == VRAI) && (ConsigneManuelle.Vitesse > CONSIGNE_NULLE_VITESSE_LINAIRE))
		{
			ConsigneManuelle.Vitesse = 0;
		}
		if ((TestCollisionArriere() == VRAI) && (ConsigneManuelle.Vitesse <  - CONSIGNE_NULLE_VITESSE_LINAIRE))
		{
			ConsigneManuelle.Vitesse = 0;
		}

		switch ( Mode_Commande )
		{
			case 	PILOTAGE_BOUCLE_OUVERTE :
					/* Les valeurs sont directement prise en compte par it ASServissement_VitesseMoteur */
			break ;

			case 	PILOTAGE_MANUEL_ASSISTE :
				Robot_Commande ( ConsigneManuelle.Vitesse, Guidage_Suivi_Mur () ) ;
			break ;

			case 	PILOTAGE_MANUEL :
				Robot_Commande ( ConsigneManuelle.Vitesse, ConsigneManuelle.ConsigneAngulaire ) ;
			break ;

			case 	CALIBRATION_MAGNETOMETRE :
#ifdef COMPAS
				if ( HMC5883L_Gestion(HMC5883L_CALIBRATION) == HMC5883L_END_CALIBRATION )
#endif
					Mode_Commande = PILOTAGE_MANUEL ;
			break ;
			case 	PILOTAGE_AUTONOME :
			break ;
		}

#ifdef WIFI
		if (  WifiCom_Gestion() == FAUX )
		{
			if ( Mode_Commande == PILOTAGE_MANUEL )
				Robot_Commande ( 0.0, 0.0 ) ;
		}
#endif

#ifdef COMPAS
		if ( Mode_Commande != CALIBRATION_MAGNETOMETRE )
			HMC5883L_Gestion(HMC5883L_MESURE) ;
#endif

#ifdef RPLIDAR
		Rplidar_Gestion () ;
//		Guidage_Suivi_Mur ( 90 ) ;
	/*	if (  Rplidar_HowMany_Scan () )
		{
			++ recu ;
		}		*/

#endif

#ifdef SERVO
		Servo_Position ( SERVO1, Position_Servo );
#endif

		/* mesure de vitesse pour info pilote */
		VitesseMesure[MOTEUR_DROIT]  = Moteur_Vitesse (MOTEUR_DROIT) ;
		VitesseMesure[MOTEUR_GAUCHE] = Moteur_Vitesse (MOTEUR_GAUCHE) ;

		Gestion_Sauvegarde() ;

  }
  /* USER CODE END 3 */

}

/** System Clock Configuration
*/
void SystemClock_Config(void)
{

  RCC_OscInitTypeDef RCC_OscInitStruct;
  RCC_ClkInitTypeDef RCC_ClkInitStruct;

  __PWR_CLK_ENABLE();

  __HAL_PWR_VOLTAGESCALING_CONFIG(PWR_REGULATOR_VOLTAGE_SCALE1);

  RCC_OscInitStruct.OscillatorType = RCC_OSCILLATORTYPE_HSE;
  RCC_OscInitStruct.HSEState = RCC_HSE_ON;
  RCC_OscInitStruct.PLL.PLLState = RCC_PLL_ON;
  RCC_OscInitStruct.PLL.PLLSource = RCC_PLLSOURCE_HSE;
  RCC_OscInitStruct.PLL.PLLM = 8;
  RCC_OscInitStruct.PLL.PLLN = 224;
  RCC_OscInitStruct.PLL.PLLP = RCC_PLLP_DIV2;
  RCC_OscInitStruct.PLL.PLLQ = 4;
  HAL_RCC_OscConfig(&RCC_OscInitStruct);

  RCC_ClkInitStruct.ClockType = RCC_CLOCKTYPE_SYSCLK|RCC_CLOCKTYPE_PCLK1
                              |RCC_CLOCKTYPE_PCLK2;
  RCC_ClkInitStruct.SYSCLKSource = RCC_SYSCLKSOURCE_PLLCLK;
  RCC_ClkInitStruct.AHBCLKDivider = RCC_SYSCLK_DIV1;
  RCC_ClkInitStruct.APB1CLKDivider = RCC_HCLK_DIV4;
  RCC_ClkInitStruct.APB2CLKDivider = RCC_HCLK_DIV2;
  HAL_RCC_ClockConfig(&RCC_ClkInitStruct, FLASH_LATENCY_5);

  HAL_SYSTICK_Config(HAL_RCC_GetHCLKFreq()/1000);

  HAL_SYSTICK_CLKSourceConfig(SYSTICK_CLKSOURCE_HCLK);

}

/************************ (C) COPYRIGHT STMicroelectronics *****END OF FILE****/
